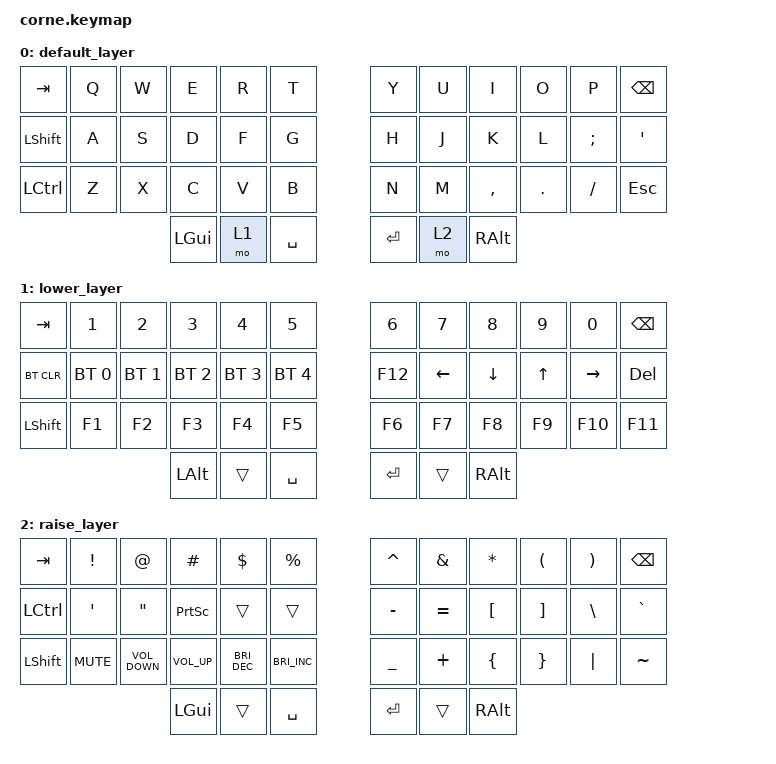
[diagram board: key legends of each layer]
/*
 * Copyright (c) 2020 The ZMK Contributors
 *
 * SPDX-License-Identifier: MIT
 */

#include <behaviors.dtsi>
#include <dt-bindings/zmk/keys.h>
#include <dt-bindings/zmk/bt.h>

/ {
        keymap {
                compatible = "zmk,keymap";

                default_layer {
// -----------------------------------------------------------------------------------------
// |  TAB |  Q  |  W  |  E  |  R  |  T  |      |  Y  |  U   |  I  |  O  |  P  | BSPC |
// | SHFT |  A  |  S  |  D  |  F  |  G  |      |  H  |  J   |  K  |  L  |  ;  |  '   |
// | CTRL |  Z  |  X  |  C  |  V  |  B  |      |  N  |  M   |  ,  |  .  |  /  | ESC  |
//                    | GUI | LWR | SPC |      | ENT | RSE  | ALT |
                        bindings = <
   &kp TAB   &kp Q &kp W &kp E &kp R &kp T   &kp Y &kp U  &kp I     &kp O   &kp P    &kp BSPC
   &kp LSHFT &kp A &kp S &kp D &kp F &kp G   &kp H &kp J  &kp K     &kp L   &kp SEMI &kp SQT
   &kp LCTRL &kp Z &kp X &kp C &kp V &kp B   &kp N &kp M  &kp COMMA &kp DOT &kp FSLH &kp ESC
                  &kp LGUI &mo 1 &kp SPACE   &kp RET &mo 2 &kp RALT
                        >;
                };
                lower_layer {
// -----------------------------------------------------------------------------------------
// |  TAB  |  1  |  2  |  3  |  4  |  5  |       |  6  |  7  |  8  |  9  |  0  | BSPC  |
// | BTCLR | BT1 | BT2 | BT3 | BT4 | BT5 |       | F12 | LFT | DWN |  UP | RGT | DEL   |
// | SHFT  | F1  | F2  | F3  | F4  | F5  |       |  F6 |  F7 |  F8 | F9  | F10 | F11   |
//                     | ALT |     | SPC |       | ENT |     | ALT |
                        bindings = <
   &kp TAB    &kp N1       &kp N2       &kp N3       &kp N4       &kp N5         &kp N6   &kp N7   &kp N8 &kp N9    &kp N0  &kp BSPC
   &bt BT_CLR &bt BT_SEL 0 &bt BT_SEL 1 &bt BT_SEL 2 &bt BT_SEL 3 &bt BT_SEL 4   &kp F12 &kp LEFT &kp DOWN &kp UP &kp RIGHT &kp DEL
   &kp LSHFT  &kp F1       &kp F2       &kp F3       &kp F4       &kp F5         &kp F6   &kp F7   &kp F8 &kp F9    &kp F10 &kp F11
                                        &kp LALT      &trans       &kp SPACE      &kp RET  &trans   &kp RALT
                        >;
                };

                raise_layer {
// -----------------------------------------------------------------------------------------
// |  TAB |  !  |  @  |  #  |  $  |  %  |       |  ^  |  &  |  *  |  (  |  )  | BSPC |
// | CTRL |  '  |  "  | 🖨️ |     |     |       |  -  |  =  |  [  |  ]  |  \  |  `   |
// | SHFT |  🔇 | 🔉 | 🔊 |  🔅 | 🔆 |       |  _  |  +  |  {  |  }  | "|" |  ~  |
//                    | GUI |     | SPC |       | ENT |     | ALT |
                        bindings = <
   &kp  TAB  &kp EXCL   &kp AT             &kp HASH        &kp DLLR        &kp PRCNT          &kp CARET &kp AMPS  &kp ASTRK &kp LPAR &kp RPAR &kp BSPC
   &kp LCTRL &kp SQT    &kp DQT            &kp PSCRN       &trans          &trans             &kp MINUS &kp EQUAL &kp LBKT  &kp RBKT &kp BSLH &kp GRAVE
   &kp LSHFT &kp K_MUTE &kp K_VOLUME_DOWN  &kp K_VOLUME_UP &kp C_BRI_DEC   &kp C_BRI_INC      &kp UNDER &kp PLUS  &kp LBRC  &kp RBRC &kp PIPE &kp TILDE
                                           &kp LGUI        &trans          &kp SPACE          &kp RET   &trans    &kp RALT
                        >;
                };
        };
};
